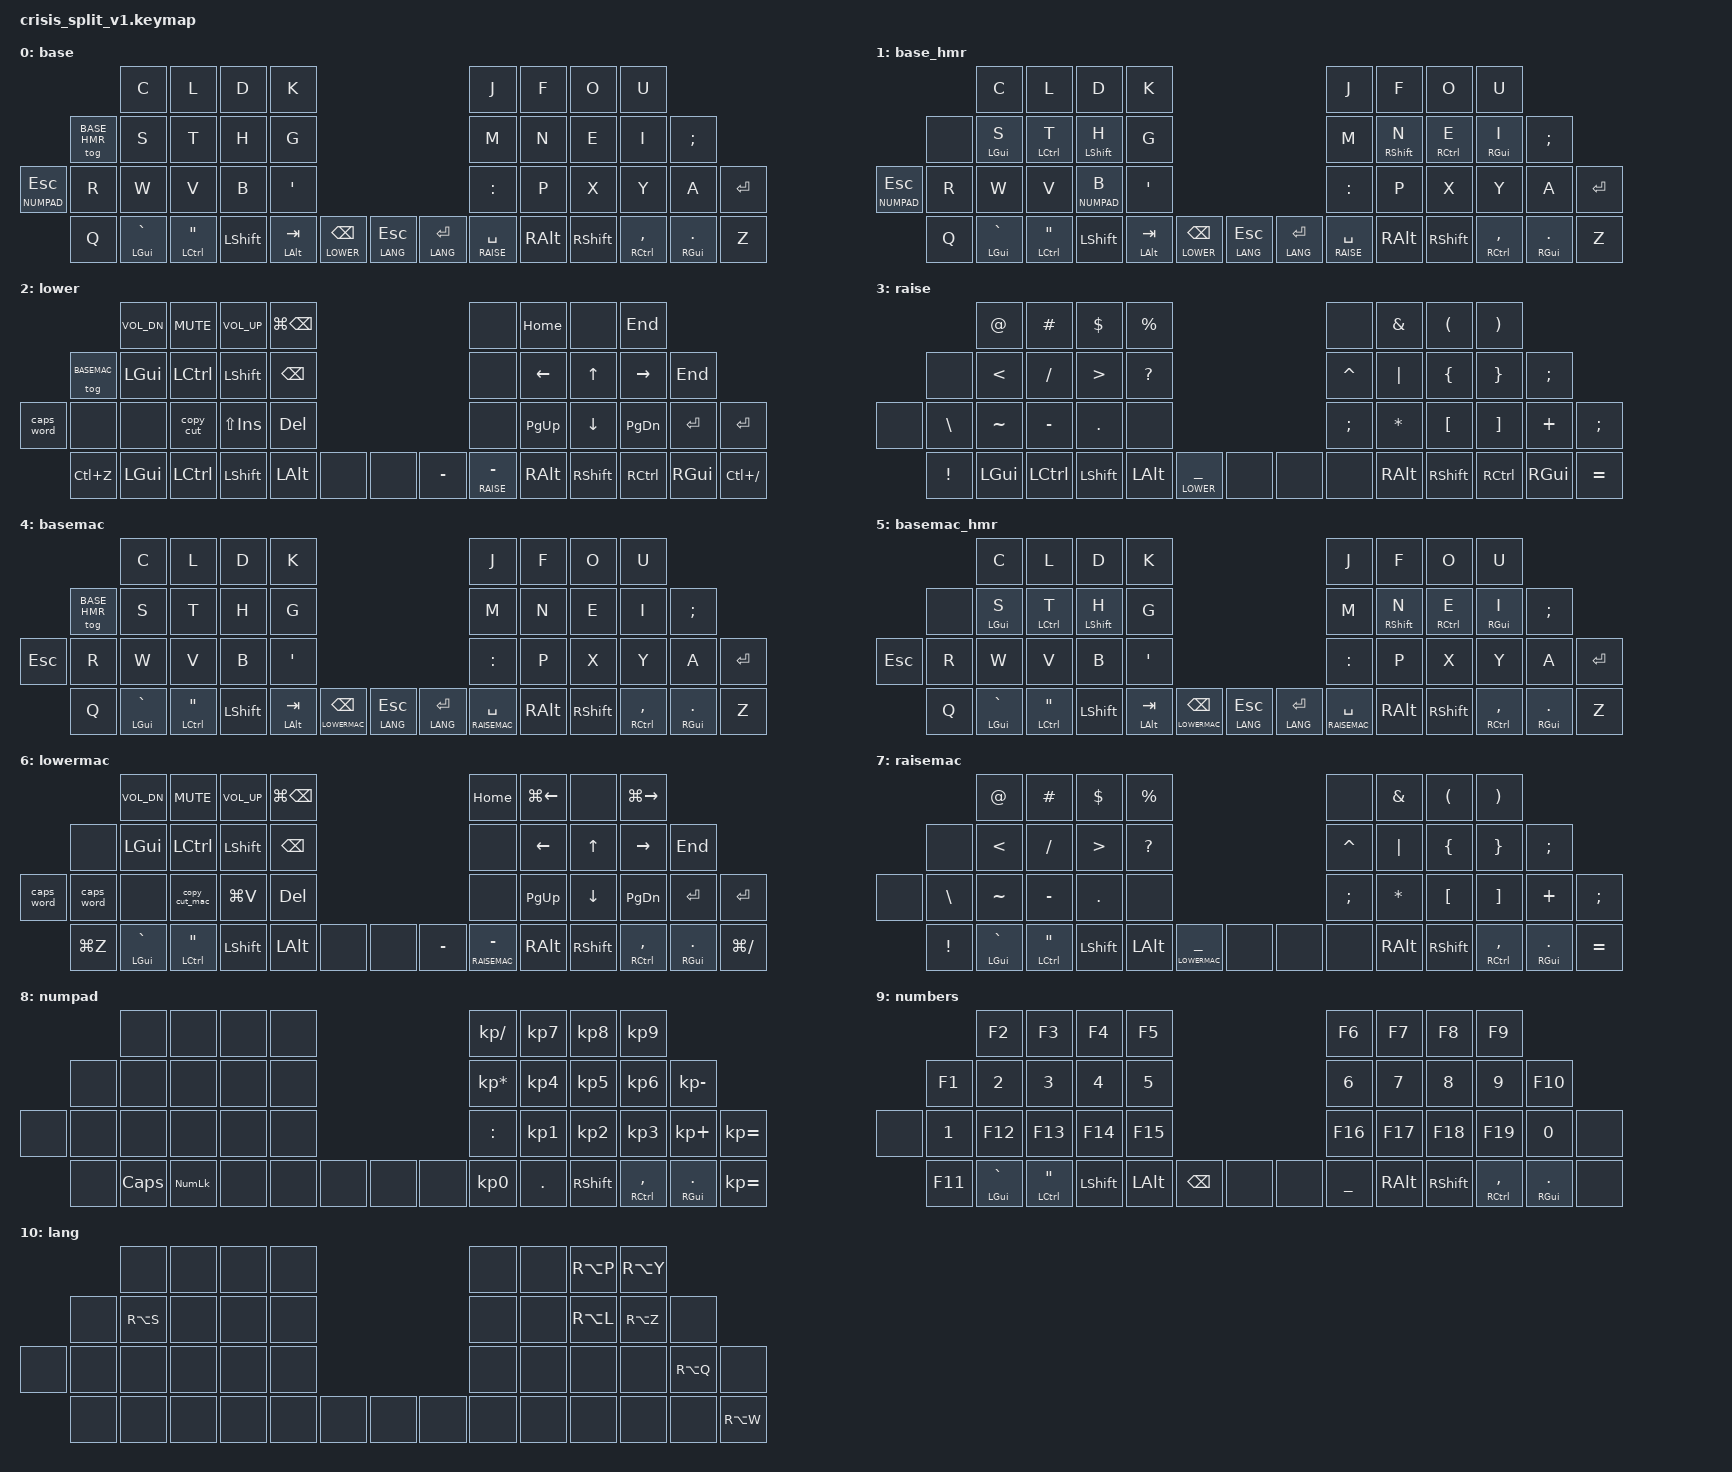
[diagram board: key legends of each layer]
/*
 * Copyright (c) 2021 The ZMK Contributors
 *
 * SPDX-License-Identifier: MIT
 */


#include <behaviors.dtsi>
#include <dt-bindings/zmk/keys.h>
#include <dt-bindings/zmk/bt.h>
#include <dt-bindings/zmk/outputs.h>
#include "zmk-helpers/helper.h"
#include "crisis_split_v1_keypos.h"


#define BASE          0
#define BASE_HMR      1
#define LOWER         2
#define RAISE         3

#define BASEMAC       4
#define BASEMAC_HMR   5
#define LOWERMAC      6
#define RAISEMAC      7

// #define QUERTY    6
// #define EXTRAS    7
#define NUMPAD        8
#define NUMBERS       9
// #define BLUETOOTH 10
#define LANG         10

// left-hand keys
#define KEYS_L LT0 LT1 LT2 LT3 LM0 LM1 LM2 LM3 LM4 LB0 LB1 LB2 LB3 LB4 LB5
// right-hand keys
#define KEYS_R RT0 RT1 RT2 RT3 RM0 RM1 RM2 RM3 RM4 RB0 RB1 RB2 RB3 RB4 RB5
// left-hand thumb keys
#define THUMBS_L LH0 LH1 LH2 LH3 LH4 LH5 LH6
// right-hand thumb keys
#define THUMBS_R RH0 RH1 RH2 RH3 RH4 RH5 RH6

/ {
    conditional_layers {
        compatible = "zmk,conditional-layers";
        tri_layer {
            if-layers = <LOWER RAISE>;
            then-layer = <NUMBERS>;
        };
        tri_layer_mac {
            if-layers = <LOWERMAC RAISEMAC>;
            then-layer = <NUMBERS>;
        };
    };
};


#define XXX &none
#define ___ &trans


// --------------------------------------------
// ------------------ COMBOS ------------------
// --------------------------------------------
#undef COMBO_TERM
#define COMBO_TERM 15

// --------------------------------------------
// ------------------- HMR --------------------
// --------------------------------------------
#define MAKE_HRM(NAME, HOLD, TAP, TRIGGER_POS) \
    ZMK_BEHAVIOR(NAME, hold_tap, \
        flavor = "balanced"; \
        tapping-term-ms = <280>; \
        quick-tap-ms = <150>; \
        bindings = <HOLD>, <TAP>; \
        hold-trigger-key-positions = <TRIGGER_POS>; \
        hold-trigger-on-release; \
        hold-while-undecided; \
    )

// left-hand HRMs
MAKE_HRM(hml, &kp, &kp, THUMBS_L THUMBS_R KEYS_R)
// right-hand HRMs
MAKE_HRM(hmr, &kp, &kp, THUMBS_L THUMBS_R KEYS_L)


// // --------------------------------------------
// // ----------------- TOGGLES ------------------
// // --------------------------------------------
&lt {
  tapping-term-ms = <280>;
  quick-tap-ms = <280>; // repeat on tap-into-hold
  flavor = "balanced";
};
  
&mt {
  tapping-term-ms = <280>;
  quick-tap-ms = <280>; // repeat on tap-into-hold
  flavor = "balanced";
};

// // --------------------------------------------
// // --------------- BEHAVIOURS -----------------
// // --------------------------------------------

ZMK_BEHAVIOR(alt_dot, hold_tap,
  flavor = "balanced";
  tapping-term-ms = <200>;
  bindings = <&kp>, <&alt_morph>;
  hold-while-undecided;
)
ZMK_BEHAVIOR(alt_morph, mod_morph,
  bindings = <&kp DOT>, <&kp COMMA>;
  mods = <(MOD_LSFT|MOD_RSFT)>;
)
// ----------------------------
ZMK_BEHAVIOR(alt_sqt, hold_tap,
  flavor = "balanced";
  tapping-term-ms = <200>;
  bindings = <&kp>, <&alt_morph_sqt>;
)

ZMK_BEHAVIOR(alt_morph_sqt, mod_morph,
  bindings = <&kp SQT>, <&kp COMMA>;
  mods = <(MOD_LSFT|MOD_RSFT)>;
)

ZMK_BEHAVIOR(copy_cut, tap_dance,
  tapping-term-ms = <200>;
  bindings = <&kp LC(INS)>, <&kp LC(X)>;
)

ZMK_BEHAVIOR(copy_cut_mac, tap_dance,
  tapping-term-ms = <200>;
  bindings = <&kp LG(C)>, <&kp LG(X)>;
)


// // --------------------------------------------
// // ----------------- MACROS -------------------
// // --------------------------------------------
ZMK_BEHAVIOR(qu_macro, macro,
  wait-ms = <0>;
  tap-ms = <5>;
  bindings = <&kp Q>, <&kp U>;
)
ZMK_BEHAVIOR(qui_macro, macro,
  wait-ms = <0>;
  tap-ms = <5>;
  bindings = <&kp Q>, <&kp U>, <&kp I>;
)
ZMK_BEHAVIOR(sch_macro, macro,
  wait-ms = <0>;
  tap-ms = <5>;
  bindings = <&kp S>, <&kp C>, <&kp H>;
)

// // -------------------------------------------------------------------
// // Linux
// // -------------------------------------------------------------------

ZMK_LAYER(base,
                                 &kp C            &kp L           &kp D        &kp K                                                                    &kp J           &kp F            &kp O              &kp U         
                   &tog BASE_HMR &kp S            &kp T           &kp H        &kp G                                                                    &kp M           &kp N            &kp E              &kp I          &kp SEMI 
    &lt NUMPAD ESC &kp R         &kp W            &kp V           &kp B        &kp SQT                                                                  &kp COLON       &kp P            &kp X              &kp Y          &kp A           &kp RETURN
                   &kp Q         &hml LGUI GRAVE  &hml LCTRL DQT  &kp LSHIFT   &mt LALT TAB    &lt LOWER BSPC  &lt LANG ESC        &lt LANG RET   &lt RAISE SPC    &kp RALT        &kp RSHIFT       &hmr RCTRL COMMA   &hmr RGUI DOT  &kp Z
)

ZMK_LAYER(base_hmr,
                                 &kp C            &kp L           &kp D         &kp K                                                                                   &kp J           &kp F            &kp O              &kp U         
                   XXX           &hml LGUI S      &hml LCTRL T    &hml LSHIFT H &kp G                                                                                   &kp M           &hmr RSHIFT N    &hmr RCTRL E       &hmr RGUI I    &kp SEMI 
    &lt NUMPAD ESC &kp R         &kp W            &kp V           &lt NUMPAD B  &kp SQT                                                                                 &kp COLON       &kp P            &kp X              &kp Y          &kp A           &kp RETURN
                   &kp Q         &hml LGUI GRAVE  &hml LCTRL DQT  &kp LSHIFT    &mt LALT TAB    &lt LOWER BSPC  &lt LANG ESC        &lt LANG RET   &lt RAISE SPC        &kp RALT        &kp RSHIFT       &hmr RCTRL COMMA   &hmr RGUI DOT  &kp Z
)
// ZMK_LAYER(base,
//                                  &kp C            &kp L           &kp D        &kp K                                                                    &kp J           &kp F            &kp O              &kp U         
//                    XXX           &kp S            &kp T           &kp H        &kp G                                                                    &kp M           &kp N            &kp E              &kp I          &kp SEMI 
//     &lt NUMPAD ESC &kp R         &kp W            &kp V           &kp B        &kp SQT                                                                  &kp COLON       &kp P            &kp X              &kp Y          &kp A           &kp RETURN
//                    &kp Q         &hml LGUI GRAVE  &hml LCTRL DQT  &kp LSHIFT   &mt LALT TAB    &kp BSPC  &lt LOWER ESC        &lt RAISE DOT  &kp SPC    &kp RALT        &kp RSHIFT       &hmr RCTRL COMMA   &hmr RGUI DOT  &kp Z
// )

ZMK_LAYER(lower,
                                &kp K_VOL_DN     &kp K_MUTE      &kp K_VOL_UP &kp LG(BSPC)                                                              XXX             &kp HOME         XXX                &kp END
                  &tog BASEMAC  &kp LGUI         &kp LCTRL       &kp LSHIFT   &kp BSPC                                                                  XXX             &kp LEFT         &kp UP             &kp RIGHT      &kp END
    &caps_word    XXX           XXX              &copy_cut       &kp LS(INS)  &kp DEL                                                                   XXX             &kp PG_UP        &kp DOWN           &kp PG_DN      &kp RETURN      &kp RETURN
                  &kp LC(Z)     &kp LGUI         &kp LCTRL       &kp LSHIFT   &kp LALT         XXX  XXX                   &kp MINUS    &lt RAISE MINUS  &kp RALT        &kp RSHIFT       &kp RCTRL          &kp RGUI     &kp LC(SLASH)
)

ZMK_LAYER(raise,
                                &kp AT     &kp HASH      &kp DOLLAR   &kp PERCENT                                                              XXX              &kp AMPS          &kp LPAR        &kp RPAR
                  XXX           &kp LT     &kp SLASH     &kp GT       &kp QMARK                                                                &kp CARET        &kp PIPE          &kp LBRC        &kp RBRC      &kp SEMI
    XXX           &kp BACKSLASH &kp TILDE  &kp MINUS     &kp DOT      XXX                                                                      &kp SEMI         &kp ASTERISK      &kp LBKT        &kp RBKT      &kp PLUS           &kp SEMI
                  &kp EXCL      &kp LGUI   &kp LCTRL     &kp LSHIFT   &kp LALT    &lt LOWER UNDERSCORE  XXX            XXX          XXX        &kp RALT         &kp RSHIFT       &kp RCTRL        &kp RGUI      &kp EQUAL
)

// // // -------------------------------------------------------------------t
// // // Linux end
// // // -------------------------------------------------------------------

// // // -------------------------------------------------------------------
// // // Mac start
// // // -------------------------------------------------------------------



ZMK_LAYER(basemac,
                                &kp C            &kp L           &kp D        &kp K                                                                    &kp J           &kp F            &kp O              &kp U         
                  &tog BASE_HMR &kp S            &kp T           &kp H        &kp G                                                                    &kp M           &kp N            &kp E              &kp I          &kp SEMI 
    &kp ESC       &kp R         &kp W            &kp V           &kp B        &kp SQT                                                                  &kp COLON       &kp P            &kp X              &kp Y          &kp A           &kp RETURN
                  &kp Q         &hml LGUI GRAVE  &hml LCTRL DQT  &kp LSHIFT   &mt LALT TAB   &lt LOWERMAC BSPC  &lt LANG ESC       &lt LANG RET  &lt RAISEMAC SPC        &kp RALT        &kp RSHIFT       &hmr RCTRL COMMA   &hmr RGUI DOT  &kp Z
)

ZMK_LAYER(basemac_hmr,
                                &kp C            &kp L           &kp D         &kp K                                                                                &kp J           &kp F            &kp O              &kp U         
                  XXX           &hml LGUI S      &hml LCTRL T    &hml LSHIFT H &kp G                                                                                &kp M           &hmr RSHIFT N    &hmr RCTRL E       &hmr RGUI I    &kp SEMI 
    &kp ESC       &kp R         &kp W            &kp V           &kp B         &kp SQT                                                                              &kp COLON       &kp P            &kp X              &kp Y          &kp A           &kp RETURN
                  &kp Q         &hml LGUI GRAVE  &hml LCTRL DQT  &kp LSHIFT    &mt LALT TAB   &lt LOWERMAC BSPC  &lt LANG ESC       &lt LANG RET  &lt RAISEMAC SPC  &kp RALT        &kp RSHIFT       &hmr RCTRL COMMA   &hmr RGUI DOT  &kp Z
)
// ZMK_LAYER(basemac,
//                                 &kp C            &kp L           &kp D        &kp K                                                                    &kp J           &kp F            &kp O              &kp U         
//                   XXX           &kp S            &kp T           &kp H        &kp G                                                                    &kp M           &kp N            &kp E              &kp I          &kp SEMI 
//     &kp ESC       &kp R         &kp W            &kp V           &kp B        &kp SQT                                                                  &kp COLON       &kp P            &kp X              &kp Y          &kp A           &kp RETURN
//                   &kp Q         &hml LGUI GRAVE  &hml LCTRL DQT  &kp LSHIFT   &mt LALT TAB   &kp BSPC  &lt LOWER ESC        &lt RAISE DOT  &kp SPC        &kp RALT        &kp RSHIFT       &hmr RCTRL COMMA   &hmr RGUI DOT  &kp Z
// )

ZMK_LAYER(lowermac,
                                &kp K_VOL_DN     &kp K_MUTE      &kp K_VOL_UP &kp LG(BSPC)                                                             &kp HOME        &kp LG(LEFT)     XXX                &kp LG(RIGHT)
                  XXX           &kp LGUI         &kp LCTRL       &kp LSHIFT   &kp BSPC                                                                 XXX             &kp LEFT         &kp UP             &kp RIGHT      &kp END
    &caps_word    &caps_word    XXX              &copy_cut_mac   &kp LG(V)    &kp DEL                                                                  XXX             &kp PG_UP        &kp DOWN           &kp PG_DN      &kp RETURN      &kp RETURN
                  &kp LG(Z)     &hml LGUI GRAVE  &hml LCTRL DQT  &kp LSHIFT   &kp LALT    XXX  XXX                  &kp MINUS       &lt RAISEMAC MINUS &kp RALT        &kp RSHIFT       &hmr RCTRL COMMA   &hmr RGUI DOT  &kp LG(SLASH)
)

ZMK_LAYER(raisemac,
                                &kp AT           &kp HASH        &kp DOLLAR   &kp PERCENT                                                     XXX              &kp AMPS        &kp LPAR           &kp RPAR
                  XXX           &kp LT           &kp SLASH       &kp GT       &kp QMARK                                                       &kp CARET        &kp PIPE        &kp LBRC           &kp RBRC       &kp SEMI 
    XXX           &kp BACKSLASH &kp TILDE        &kp MINUS       &kp DOT      XXX                                                             &kp SEMI         &kp ASTERISK    &kp LBKT           &kp RBKT       &kp PLUS       &kp SEMI 
                  &kp EXCL      &hml LGUI GRAVE  &hml LCTRL DQT  &kp LSHIFT   &kp LALT    &lt LOWERMAC UNDERSCORE    XXX    XXX    XXX        &kp RALT         &kp RSHIFT      &hmr RCTRL COMMA   &hmr RGUI DOT  &kp EQUAL
)

// // -------------------------------------------------------------------
// // Mac end
// // -------------------------------------------------------------------


ZMK_LAYER(numpad,
                                XXX              XXX             XXX          XXX                                                                      &kp KP_DIVIDE    &kp KP_N7       &kp KP_N8           &kp KP_N9      
                  XXX           XXX              XXX             XXX          XXX                                                                      &kp KP_MULTIPLY  &kp KP_N4       &kp KP_N5           &kp KP_N6      &kp KP_MINUS
    XXX           XXX           XXX              XXX             XXX          XXX                                                                      &kp COLON        &kp KP_N1       &kp KP_N2           &kp KP_N3      &kp KP_PLUS     &kp KP_EQUAL 
                  XXX           &kp CAPSLOCK     &kp KP_NUMLOCK  XXX          XXX         XXX       XXX                   XXX           &kp KP_N0      &kp DOT          &kp RSHIFT      &hmr RCTRL COMMA    &hmr RGUI DOT  &kp KP_EQUAL 

  )

ZMK_LAYER(numbers,
                                &kp F2           &kp F3          &kp F4       &kp F5                                                                   &kp F6          &kp F7           &kp F8              &kp F9         
                  &kp F1        &kp NUMBER_2     &kp NUMBER_3    &kp NUMBER_4 &kp NUMBER_5                                                             &kp NUMBER_6    &kp NUMBER_7     &kp NUMBER_8        &kp NUMBER_9   &kp F10
    XXX           &kp NUMBER_1  &kp F12          &kp F13         &kp F14      &kp F15                                                                  &kp F16         &kp F17          &kp F18             &kp F19        &kp NUMBER_0     XXX
                  &kp F11       &hml LGUI GRAVE  &hml LCTRL DQT  &kp LSHIFT   &kp LALT    &kp BSPC  XXX                   XXX           &kp UNDERSCORE &kp RALT        &kp RSHIFT       &hmr RCTRL COMMA    &hmr RGUI DOT  XXX

  )

ZMK_LAYER(lang,
                                XXX              XXX             XXX          XXX                                                                      XXX             XXX              &kp RA(P)           &kp RA(Y)      
                  XXX           &kp RA(S)        XXX             XXX          XXX                                                                      XXX             XXX              &kp RA(L)           &kp RA(Z)      XXX 
    XXX           XXX           XXX              XXX             XXX          XXX                                                                      XXX             XXX              XXX                 XXX            &kp RA(Q)             XXX 
                  XXX           XXX              XXX             XXX          XXX         XXX       XXX                   XXX           XXX            XXX             XXX              XXX                 XXX            &kp RA(W)

  )

// ZMK_LAYER(numpad,
//                                 XXX              XXX             XXX          XXX                                                                      XXX             XXX              XXX                 XXX      
//                   XXX           XXX              XXX             XXX          XXX                                                                      XXX             XXX              XXX                 XXX            XXX
//     XXX           XXX           XXX              XXX             XXX          XXX                                                                      XXX             XXX              XXX                 XXX            XXX              XXX 
//                   XXX           XXX              XXX             XXX          XXX         XXX       XXX                   XXX           XXX            XXX             XXX              XXX                 XXX            XXX 

//   )
